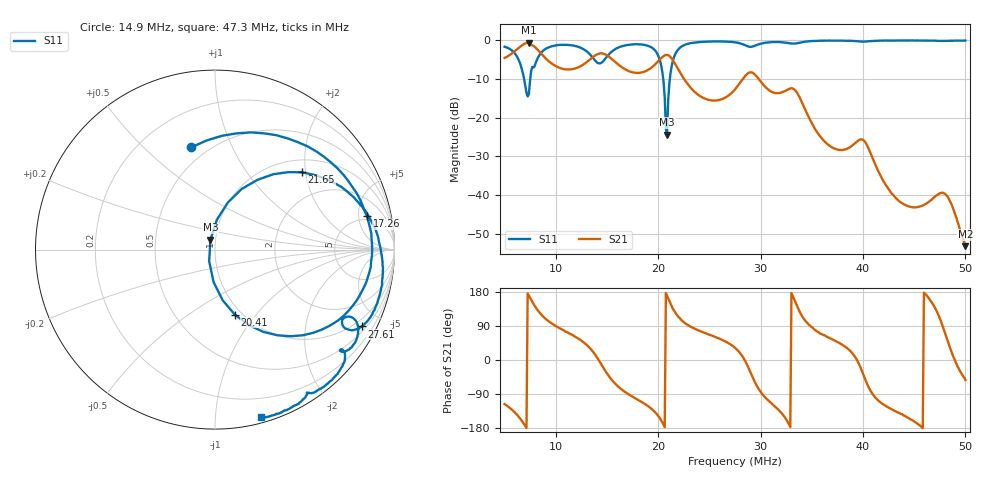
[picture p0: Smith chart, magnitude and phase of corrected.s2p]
! S11/S21 only; reverse parameters are placeholders. Device calibration unverified.
! [Saver CAL applied] C:\Users\aknya\MyProjects\rf-simulator\calibration2.cal | Ideal standards assumed | Input: NanoVNA F V2 profile | COM3 | 2026-09-08T10:57:49.4471529-04:00 | device calibration unverified
# HZ S RI R 50
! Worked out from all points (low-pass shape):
!   401 points, 5 MHz to 50 MHz, reference 50 ohm
!   highest |S21| = -0.72 dB at 7.362 MHz (marker M1); lowest = -53.1 dB at 50 MHz (marker M2)
!   |S21| within 3 dB of the highest: 5.603 MHz to 8.621 MHz (3.018 MHz wide, 42.4 % of centre); 14.06 MHz to 14.81 MHz (751.3 kHz wide, 5.2 % of centre)
!   lowest |S11| = -24.4 dB at 20.86 MHz (marker M3), VSWR 1.13, Z = 47.2 + j5.21 ohm
!   |S11| at or under -10 dB: 6.896 MHz to 7.509 MHz (613 kHz wide, 8.51 % of centre); 20.48 MHz to 21.14 MHz (658.5 kHz wide, 3.16 % of centre)
!   S12 and S22 are empty: the file has one direction only
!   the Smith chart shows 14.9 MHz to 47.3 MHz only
!   S11 on the Smith chart (normalised r, x): 14.9 MHz: 0.41, +0.71; 17.26 MHz: 4.29, +6.43; 20.41 MHz: 0.93, -0.79; 21.65 MHz: 1.28, +1.91; 27.61 MHz: 0.69, -3.95; 47.3 MHz: 0.04, -1.31
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5000000  0.7476 -0.3206  -0.2608 -0.523  0 0  0 0
7362500  0.198 0.00131  -0.9069 0.1567  0 0  0 0
8262500  0.5665 0.1677  -0.475 0.5611  0 0  0 0
9725000  0.8152 -0.1699  -0.0359 0.4813  0 0  0 0
1.25375e7  0.2496 -0.736  0.2982 0.3592  0 0  0 0
1.4e7  -0.4949 -0.1413  0.6404 0.0875  0 0  0 0
1.49e7  -0.131 0.5704  0.5486 -0.3342  0 0  0 0
1.72625e7  0.8473 0.1855  -0.0214 -0.3889  0 0  0 0
2.0075e7  0.3485 -0.4775  -0.4709 -0.2697  0 0  0 0
2.04125e7  0.1103 -0.3623  -0.5797 -0.1561  0 0  0 0
2.08625e7  -0.0254 0.055  -0.629 0.1158  0 0  0 0
2.165e7  0.4845 0.4308  -0.2876 0.3963  0 0  0 0
2.33375e7  0.91 0.0631  0.0168 0.2278  0 0  0 0
2.75e7  0.8286 -0.4187  0.1939 0.1232  0 0  0 0
2.76125e7  0.8167 -0.4283  0.2096 0.1175  0 0  0 0
2.96375e7  0.7689 -0.3807  0.1227 -0.3119  0 0  0 0
3.29e7  0.6999 -0.5646  -0.2363 -0.0136  0 0  0 0
3.50375e7  0.7083 -0.6525  0.0063 0.0828  0 0  0 0
4.01e7  0.5129 -0.7973  0.0369 -0.0345  0 0  0 0
4.2575e7  0.4444 -0.8686  -0.00694 -0.00932  0 0  0 0
4.73e7  0.254 -0.9342  -0.00553 0.00859  0 0  0 0
5e7  0.1672 -0.9628  0.00134 -0.00178  0 0  0 0
